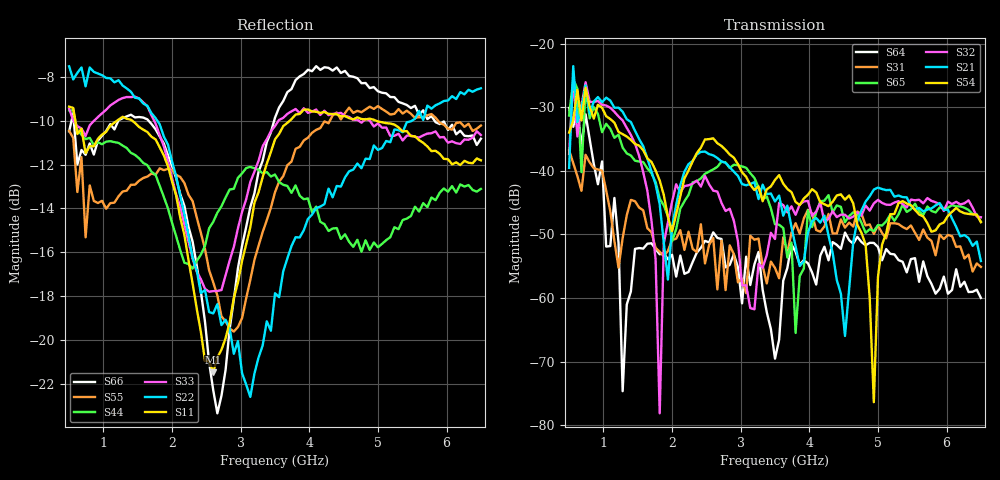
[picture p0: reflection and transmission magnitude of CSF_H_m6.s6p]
!Keysight Technologies,M9804A,MY58100912,A.14.10.03
!Date: Thursday, April 27, 2023 10:28:33
!Correction: S11(C  6-Port  )
!S12(C  6-Port  )
!S13(C  6-Port  )
!S14(C  6-Port  )
!S15(C  6-Port  )
!S16(C  6-Port  )
!S21(C  6-Port  )
!S22(C  6-Port  )
!S23(C  6-Port  )
!S24(C  6-Port  )
!S25(C  6-Port  )
!S26(C  6-Port  )
!S31(C  6-Port  )
!S32(C  6-Port  )
!S33(C  6-Port  )
!S34(C  6-Port  )
!S35(C  6-Port  )
!S36(C  6-Port  )
!S41(C  6-Port  )
!S42(C  6-Port  )
!S43(C  6-Port  )
!S44(C  6-Port  )
!S45(C  6-Port  )
!S46(C  6-Port  )
!S51(C  6-Port  )
!S52(C  6-Port  )
!S53(C  6-Port  )
!S54(C  6-Port  )
!S55(C  6-Port  )
!S56(C  6-Port  )
!S61(C  6-Port  )
!S62(C  6-Port  )
!S63(C  6-Port  )
!S64(C  6-Port  )
!S65(C  6-Port  )
!S66(C  6-Port  )
!S6P File: Measurement: :
# Hz S  RI  R 50
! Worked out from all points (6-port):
!   101 points, 500 MHz to 6.5 GHz, reference 50 ohm
!   strongest paths, dB at 500 MHz, 2 GHz, 3.5 GHz, 5 GHz, 6.5 GHz:
!     S54: -34.0, -49.5, -41.4, -56.7, -48.1
!     S21: -39.5, -48.8, -44.8, -42.6, -54.2
!     S32: -37.4, -44.9, -50.7, -44.6, -47.3
!     S65: -31.3, -51.1, -48.4, -48.5, -48.0
!     S31: -36.8, -50.9, -55.3, -48.6, -55.1
!     S64: -30.1, -53.2, -69.5, -52.0, -60.0
!   lowest |S11| = -21.5 dB at 2.6 GHz (marker M1), VSWR 1.18, Z = 42.5 + j2.18 ohm
!   |S11| at or under -10 dB: 589.5 MHz to 1.197 GHz (607.5 MHz wide, 68 % of centre); 1.42 GHz to 3.714 GHz (2.294 GHz wide, 89.4 % of centre); 4.976 GHz to end of sweep
